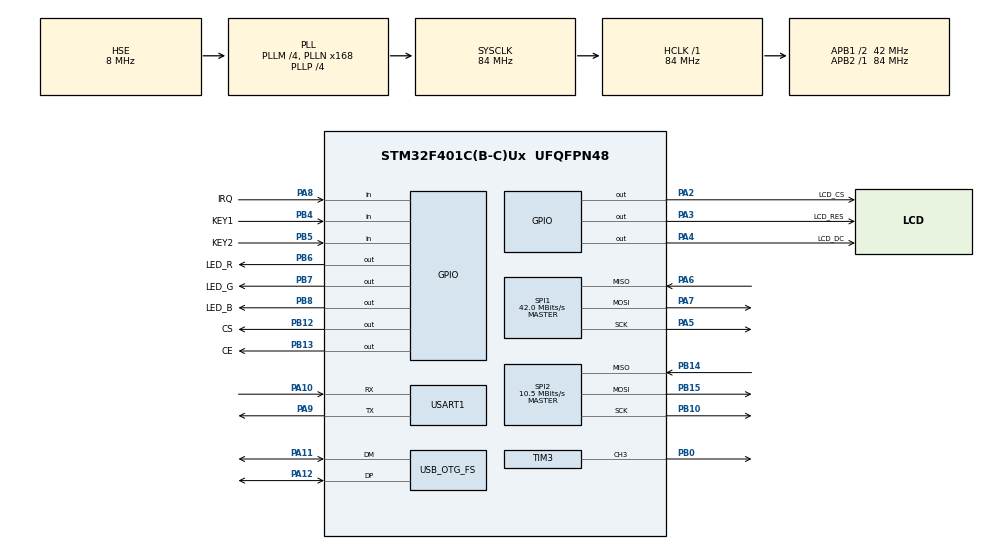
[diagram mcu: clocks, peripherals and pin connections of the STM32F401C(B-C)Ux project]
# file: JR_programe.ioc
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Dma.Request0=USART1_RX
Dma.Request1=USART1_TX
Dma.Request2=SPI1_TX
Dma.SPI1_TX.2.Direction=DMA_MEMORY_TO_PERIPH
Dma.SPI1_TX.2.FIFOMode=DMA_FIFOMODE_DISABLE
Dma.SPI1_TX.2.Instance=DMA2_Stream3
Dma.SPI1_TX.2.MemDataAlignment=DMA_MDATAALIGN_BYTE
Dma.SPI1_TX.2.MemInc=DMA_MINC_ENABLE
Dma.SPI1_TX.2.Mode=DMA_NORMAL
Dma.SPI1_TX.2.PeriphDataAlignment=DMA_PDATAALIGN_BYTE
Dma.SPI1_TX.2.PeriphInc=DMA_PINC_DISABLE
Dma.SPI1_TX.2.Priority=DMA_PRIORITY_LOW
Dma.USART1_RX.0.Direction=DMA_PERIPH_TO_MEMORY
Dma.USART1_RX.0.FIFOMode=DMA_FIFOMODE_DISABLE
Dma.USART1_RX.0.Instance=DMA2_Stream2
Dma.USART1_RX.0.MemDataAlignment=DMA_MDATAALIGN_BYTE
Dma.USART1_RX.0.MemInc=DMA_MINC_ENABLE
Dma.USART1_RX.0.Mode=DMA_NORMAL
Dma.USART1_RX.0.PeriphDataAlignment=DMA_PDATAALIGN_BYTE
Dma.USART1_RX.0.PeriphInc=DMA_PINC_DISABLE
Dma.USART1_RX.0.Priority=DMA_PRIORITY_LOW
Dma.USART1_TX.1.Direction=DMA_MEMORY_TO_PERIPH
Dma.USART1_TX.1.FIFOMode=DMA_FIFOMODE_DISABLE
Dma.USART1_TX.1.Instance=DMA2_Stream7
Dma.USART1_TX.1.MemDataAlignment=DMA_MDATAALIGN_BYTE
Dma.USART1_TX.1.MemInc=DMA_MINC_ENABLE
Dma.USART1_TX.1.Mode=DMA_NORMAL
Dma.USART1_TX.1.PeriphDataAlignment=DMA_PDATAALIGN_BYTE
Dma.USART1_TX.1.PeriphInc=DMA_PINC_DISABLE
Dma.USART1_TX.1.Priority=DMA_PRIORITY_LOW
Mcu.Family=STM32F4
Mcu.Name=STM32F401C(B-C)Ux
Mcu.Package=UFQFPN48
NVIC.DMA2_Stream2_IRQn=true\:0\:0\:false\:false\:true\:false\:true\:true
NVIC.DMA2_Stream3_IRQn=true\:0\:0\:false\:false\:true\:false\:true\:true
NVIC.DMA2_Stream7_IRQn=true\:0\:0\:false\:false\:true\:false\:true\:true
NVIC.OTG_FS_IRQn=true\:0\:0\:false\:false\:true\:false\:true\:true
NVIC.PriorityGroup=NVIC_PRIORITYGROUP_4
NVIC.TIM1_BRK_TIM9_IRQn=true\:0\:0\:true\:false\:true\:true\:true\:true
NVIC.TIM1_TRG_COM_TIM11_IRQn=true\:10\:0\:true\:false\:true\:true\:true\:true
NVIC.TIM1_UP_TIM10_IRQn=true\:12\:0\:true\:false\:true\:true\:true\:true
NVIC.USART1_IRQn=true\:0\:0\:false\:false\:true\:true\:true\:true
PA10.Mode=Asynchronous
PA10.Signal=USART1_RX
PA11.Mode=Device_Only
PA11.Signal=USB_OTG_FS_DM
PA12.GPIO_PuPd=GPIO_PULLUP
PA12.Mode=Device_Only
PA12.Signal=USB_OTG_FS_DP
PA13.Mode=Serial_Wire
PA13.Signal=SYS_JTMS-SWDIO
PA14.Mode=Serial_Wire
PA14.Signal=SYS_JTCK-SWCLK
PA2.GPIO_Label=LCD_CS
PA2.Signal=GPIO_Output
PA3.GPIO_Label=LCD_RES
PA3.Signal=GPIO_Output
PA4.GPIO_Label=LCD_DC
PA4.Signal=GPIO_Output
PA5.Mode=Full_Duplex_Master
PA5.Signal=SPI1_SCK
PA6.Mode=Full_Duplex_Master
PA6.Signal=SPI1_MISO
PA7.Mode=Full_Duplex_Master
PA7.Signal=SPI1_MOSI
PA8.GPIO_Label=IRQ
PA8.GPIO_PuPd=GPIO_PULLUP
PA8.Signal=GPIO_Input
PA9.Mode=Asynchronous
PA9.Signal=USART1_TX
PB0.Signal=S_TIM3_CH3
PB10.Mode=Full_Duplex_Master
PB10.Signal=SPI2_SCK
PB12.GPIO_Label=CS
PB12.Signal=GPIO_Output
PB13.GPIO_Label=CE
PB13.Signal=GPIO_Output
PB14.Mode=Full_Duplex_Master
PB14.Signal=SPI2_MISO
PB15.Mode=Full_Duplex_Master
PB15.Signal=SPI2_MOSI
PB4.GPIO_Label=KEY1
PB4.GPIO_PuPd=GPIO_PULLDOWN
PB4.Signal=GPIO_Input
PB5.GPIO_Label=KEY2
PB5.GPIO_PuPd=GPIO_PULLDOWN
PB5.Signal=GPIO_Input
PB6.GPIO_Label=LED_R
PB6.GPIO_PuPd=GPIO_PULLUP
PB6.PinState=GPIO_PIN_SET
PB6.Signal=GPIO_Output
PB7.GPIO_Label=LED_G
PB7.GPIO_PuPd=GPIO_PULLUP
PB7.PinState=GPIO_PIN_SET
PB7.Signal=GPIO_Output
PB8.GPIO_Label=LED_B
PB8.GPIO_PuPd=GPIO_PULLUP
PB8.PinState=GPIO_PIN_SET
PB8.Signal=GPIO_Output
PH0\ -\ OSC_IN.Mode=HSE-External-Oscillator
PH0\ -\ OSC_IN.Signal=RCC_OSC_IN
PH1\ -\ OSC_OUT.Mode=HSE-External-Oscillator
PH1\ -\ OSC_OUT.Signal=RCC_OSC_OUT
ProjectManager.HeapSize=0x400
ProjectManager.StackSize=0x800
ProjectManager.TargetToolchain=MDK-ARM V5.32
RCC.48MHZClocksFreq_Value=48000000
RCC.AHBFreq_Value=84000000
RCC.APB1CLKDivider=RCC_HCLK_DIV2
RCC.APB1Freq_Value=42000000
RCC.APB1TimFreq_Value=84000000
RCC.APB2Freq_Value=84000000
RCC.APB2TimFreq_Value=84000000
RCC.CortexFreq_Value=84000000
RCC.HCLKFreq_Value=84000000
RCC.HSE_VALUE=8000000
RCC.HSI_VALUE=16000000
RCC.LSE_VALUE=32768
RCC.PLLM=4
RCC.PLLN=168
RCC.PLLP=RCC_PLLP_DIV4
RCC.PLLQ=7
RCC.SYSCLKFreq_VALUE=84000000
RCC.SYSCLKSource=RCC_SYSCLKSOURCE_PLLCLK
RCC.VCOOutputFreq_Value=336000000
SH.S_TIM3_CH3.0=TIM3_CH3,PWM Generation3 CH3
SPI1.BaudRatePrescaler=SPI_BAUDRATEPRESCALER_2
SPI1.CalculateBaudRate=42.0 MBits/s
SPI1.Direction=SPI_DIRECTION_2LINES
SPI1.Mode=SPI_MODE_MASTER
SPI1.VirtualType=VM_MASTER
SPI2.BaudRatePrescaler=SPI_BAUDRATEPRESCALER_4
SPI2.CalculateBaudRate=10.5 MBits/s
SPI2.Direction=SPI_DIRECTION_2LINES
SPI2.Mode=SPI_MODE_MASTER
SPI2.VirtualType=VM_MASTER
TIM10.Period=4999
TIM10.Prescaler=83
TIM11.AutoReloadPreload=TIM_AUTORELOAD_PRELOAD_ENABLE
TIM11.Period=65535
TIM11.Prescaler=83
TIM3.Channel-PWM\ Generation3\ CH3=TIM_CHANNEL_3
TIM3.OCPolarity_3=TIM_OCPOLARITY_LOW
TIM3.Period=65535
TIM3.Prescaler=3
TIM3.Pulse-PWM\ Generation3\ CH3=65535
TIM5.Prescaler=83
TIM9.Period=999
TIM9.Prescaler=83
USART1.VirtualMode=VM_ASYNC
USB_DEVICE.CLASS_NAME_FS=CDC
USB_DEVICE.VirtualMode=Cdc
USB_DEVICE.VirtualModeFS=Cdc_FS
USB_OTG_FS.VirtualMode=Device_Only
VP_CRC_VS_CRC.Mode=CRC_Activate
VP_TIM10_VS_ClockSourceINT.Mode=Enable_Timer
VP_TIM11_VS_ClockSourceINT.Mode=Enable_Timer
VP_TIM3_VS_ClockSourceINT.Mode=Internal
VP_TIM5_VS_ClockSourceINT.Mode=Internal
VP_TIM9_VS_ClockSourceINT.Mode=Internal
VP_USB_DEVICE_VS_USB_DEVICE_CDC_FS.Mode=CDC_FS
board=custom

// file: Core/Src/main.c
/* USER CODE BEGIN Header */
/**
 ******************************************************************************
 * @file           : main.c
 * @brief          : Main program body
 ******************************************************************************
 * @attention
 *
 * <h2><center>&copy; Copyright (c) 2022 STMicroelectronics.
 * All rights reserved.</center></h2>
 *
 * This software component is licensed by ST under BSD 3-Clause license,
 * the "License"; You may not use this file except in compliance with the
 * License. You may obtain a copy of the License at:
 *                        opensource.org/licenses/BSD-3-Clause
 *
 ******************************************************************************
 */
/* USER CODE END Header */
#include "main.h"
#include "crc.h"
#include "dma.h"
#include "spi.h"
#include "tim.h"
#include "usart.h"
#include "usb_device.h"
#include "gpio.h"

/* USER CODE BEGIN Includes */
#include "usbd_cdc_if.h"
#include "user_usb.h"
#include "user_led.h"
#include "user_key.h"
#include "protocol.h"
#include "LCD.h"
#include "st7735s.h"
#include "LOGO.h"

/* USER CODE END Includes */

/* USER CODE BEGIN PV */
uint8_t i = 0, j, k;
extern protocolTypeDef protocol;
uint8_t Data[11] = {12, 23, 43, 113};

/* USER CODE END PV */

void SystemClock_Config(void);

int main(void)
{

  /* MCU Configuration--------------------------------------------------------*/

  /* Reset of all peripherals, Initializes the Flash interface and the Systick. */
  HAL_Init();

  /* Configure the system clock */
  SystemClock_Config();

  /* USER CODE BEGIN SysInit */
  USB_Disconnected(); // USB重枚举
  /* USER CODE END SysInit */

  /* Initialize all configured peripherals */
  MX_GPIO_Init();
  MX_DMA_Init();
  MX_SPI2_Init();
  MX_USART1_UART_Init();
  MX_CRC_Init();
  MX_TIM3_Init();
  MX_USB_DEVICE_Init();
  MX_SPI1_Init();
  MX_TIM10_Init();
  MX_TIM11_Init();
  MX_TIM9_Init();
  MX_TIM5_Init();
  /* USER CODE BEGIN 2 */
  HAL_Delay(500);
  LCD_Init();                // 初始化LCD
  LCD_set_backlight(0x0000); // 打开LCD背光
  user_key_init();
  user_led_init();
  protocol_init(PROTOCOL_MASTER);
  HAL_TIM_Base_Start_IT(&htim9);            // 启动us定时器
  HAL_TIM_Base_Start_IT(&htim10);           // 启动5ms定时器
  HAL_TIM_PWM_Start(&htim3, TIM_CHANNEL_3); // 启动背光PWM定时器
  HAL_Delay(1000);
  /* USER CODE END 2 */

  /* Infinite loop */
  /* USER CODE BEGIN WHILE */
  while (1)
  {
    // HAL_Delay(500);
    // CDC_Transmit_FS(Data, sizeof(Data));
    /* USER CODE END WHILE */

  }
}

void SystemClock_Config(void)
{
  RCC_OscInitTypeDef RCC_OscInitStruct = {0};
  RCC_ClkInitTypeDef RCC_ClkInitStruct = {0};

  /** Configure the main internal regulator output voltage
  */
  __HAL_RCC_PWR_CLK_ENABLE();
  __HAL_PWR_VOLTAGESCALING_CONFIG(PWR_REGULATOR_VOLTAGE_SCALE2);

  /** Initializes the RCC Oscillators according to the specified parameters
  * in the RCC_OscInitTypeDef structure.
  */
  RCC_OscInitStruct.OscillatorType = RCC_OSCILLATORTYPE_HSE;
  RCC_OscInitStruct.HSEState = RCC_HSE_ON;
  RCC_OscInitStruct.PLL.PLLState = RCC_PLL_ON;
  RCC_OscInitStruct.PLL.PLLSource = RCC_PLLSOURCE_HSE;
  RCC_OscInitStruct.PLL.PLLM = 4;
  RCC_OscInitStruct.PLL.PLLN = 168;
  RCC_OscInitStruct.PLL.PLLP = RCC_PLLP_DIV4;
  RCC_OscInitStruct.PLL.PLLQ = 7;
  if (HAL_RCC_OscConfig(&RCC_OscInitStruct) != HAL_OK)
  {
    Error_Handler();
  }

  /** Initializes the CPU, AHB and APB buses clocks
  */
  RCC_ClkInitStruct.ClockType = RCC_CLOCKTYPE_HCLK|RCC_CLOCKTYPE_SYSCLK
                              |RCC_CLOCKTYPE_PCLK1|RCC_CLOCKTYPE_PCLK2;
  RCC_ClkInitStruct.SYSCLKSource = RCC_SYSCLKSOURCE_PLLCLK;
  RCC_ClkInitStruct.AHBCLKDivider = RCC_SYSCLK_DIV1;
  RCC_ClkInitStruct.APB1CLKDivider = RCC_HCLK_DIV2;
  RCC_ClkInitStruct.APB2CLKDivider = RCC_HCLK_DIV1;

  if (HAL_RCC_ClockConfig(&RCC_ClkInitStruct, FLASH_LATENCY_2) != HAL_OK)
  {
    Error_Handler();
  }
}

void Error_Handler(void)
{
  __disable_irq();
  while (1)
  {
  }
}
